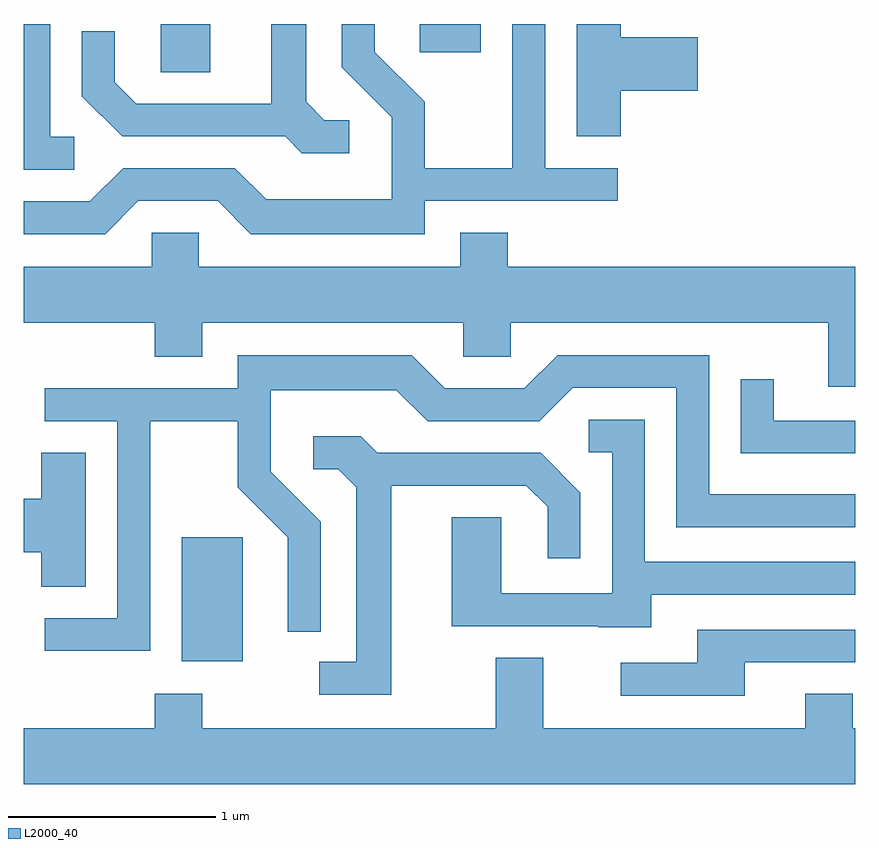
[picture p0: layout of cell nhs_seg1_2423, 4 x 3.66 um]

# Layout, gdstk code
import gdstk
lib = gdstk.Library(unit=1e-6, precision=1e-09)
def R(c, l, rs):  # rectangles x0, y0, x1, y1
    for r in rs: c.add(gdstk.rectangle(r[:2], r[2:], *l))
def P(c, l, *ps):  # polygons
    for p in ps: c.add(gdstk.Polygon(p, *l))
L2000_40 = (2000, 40)

nhs_seg1_2423 = lib.new_cell('nhs_seg1_2423')
R(nhs_seg1_2423, L2000_40, [(260.371,864.646,260.664,865.244), (260.271,867.481,260.509,867.712), (261.516,867.576,261.809,867.712)])
P(nhs_seg1_2423, L2000_40, [(260.162,866.861),(260.544,866.861),(260.704,866.701),(261.539,866.701),(261.539,866.861),(262.468,866.861),(262.468,867.019),(262.119,867.019),(262.119,867.712),(261.961,867.712),(261.961,867.019),(261.539,867.019),(261.539,867.337),(261.299,867.577),(261.299,867.712),(261.141,867.712),(261.141,867.504),(261.381,867.264),(261.381,866.869),(260.777,866.869),(260.627,867.019),(260.089,867.019),(259.929,866.859),(259.611,866.859),(259.611,866.701),(260.002,866.701)],
  [(261.178,867.249),(261.057,867.249),(260.969,867.337),(260.969,867.712),(260.801,867.712),(260.801,867.329),(260.152,867.329),(260.049,867.432),(260.049,867.678),(259.891,867.678),(259.891,867.364),(260.084,867.171),(260.868,867.171),(260.949,867.091),(261.178,867.091)],
  [(262.484,867.391),(262.854,867.391),(262.854,867.649),(262.484,867.649),(262.484,867.712),(262.271,867.712),(262.271,867.171),(262.484,867.171)],
  [(259.853,867.169),(259.739,867.169),(259.739,867.712),(259.611,867.712),(259.611,867.011),(259.853,867.011)],
  [(263.611,866.544),(261.939,866.544),(261.939,866.709),(261.711,866.709),(261.711,866.544),(260.454,866.544),(260.454,866.709),(260.226,866.709),(260.226,866.544),(259.611,866.544),(259.611,866.276),(260.241,866.276),(260.241,866.111),(260.469,866.111),(260.469,866.276),(261.726,866.276),(261.726,866.111),(261.954,866.111),(261.954,866.276),(263.481,866.276),(263.481,865.966),(263.611,865.966)],
  [(260.219,865.801),(260.641,865.801),(260.641,865.484),(260.881,865.244),(260.881,864.788),(261.039,864.788),(261.039,865.317),(260.799,865.557),(260.799,865.951),(261.404,865.951),(261.554,865.801),(262.092,865.801),(262.252,865.961),(262.751,865.961),(262.751,865.291),(263.611,865.291),(263.611,865.449),(262.909,865.449),(262.909,866.119),(262.179,866.119),(262.019,865.959),(261.637,865.959),(261.477,866.119),(260.641,866.119),(260.641,865.959),(259.712,865.959),(259.712,865.801),(260.061,865.801),(260.061,864.854),(259.712,864.854),(259.712,864.696),(260.219,864.696)],
  [(263.611,865.804),(263.219,865.804),(263.219,866.003),(263.061,866.003),(263.061,865.646),(263.611,865.646)],
  [(262.629,864.966),(263.611,864.966),(263.611,865.124),(262.599,865.124),(262.599,865.809),(262.328,865.809),(262.328,865.651),(262.441,865.651),(262.441,864.974),(261.909,864.974),(261.909,865.339),(261.671,865.339),(261.671,864.816),(262.375,864.816),(262.375,864.811),(262.629,864.811)],
  [(261.379,865.491),(262.029,865.491),(262.131,865.389),(262.131,865.143),(262.289,865.143),(262.289,865.457),(262.097,865.649),(261.312,865.649),(261.231,865.729),(261.003,865.729),(261.003,865.571),(261.123,865.571),(261.211,865.484),(261.211,864.644),(261.033,864.644),(261.033,864.486),(261.379,864.486)],
  [(259.909,865.649),(259.696,865.649),(259.696,865.429),(259.611,865.429),(259.611,865.171),(259.696,865.171),(259.696,865.006),(259.909,865.006)],
  [(263.079,864.641),(263.611,864.641),(263.611,864.799),(262.851,864.799),(262.851,864.639),(262.483,864.639),(262.483,864.481),(263.079,864.481)],
  [(263.611,864.324),(263.599,864.324),(263.599,864.489),(263.371,864.489),(263.371,864.324),(262.109,864.324),(262.109,864.664),(261.881,864.664),(261.881,864.324),(260.469,864.324),(260.469,864.489),(260.241,864.489),(260.241,864.324),(259.611,864.324),(259.611,864.056),(263.611,864.056)])

lib.write_gds('nhs_seg1_2423.gds')
